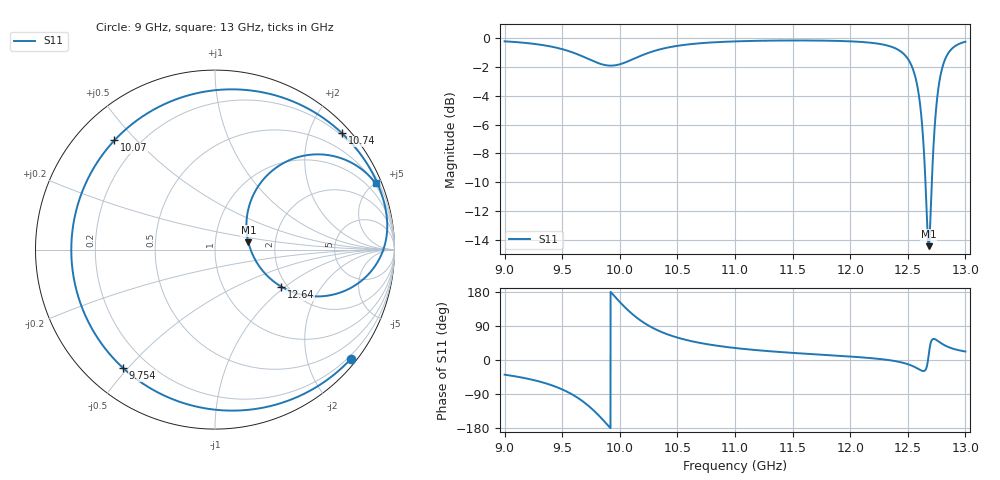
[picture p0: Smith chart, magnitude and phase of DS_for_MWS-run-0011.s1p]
! TOUCHSTONE file generated by CST DESIGN STUDIO
! Date and time: Tue Feb  4 17:49:47 2025
! Project name: C:\Work\MatlabApps\UnitCellOptimizationMatlab\CST\unitcell.cst
! Tree item: Tasks\Sweep1\SPara1\S-Parameters
! Header version: 2024
! Port assignment regex: !\s*Touchstone port\s*([0-9]+)\s*=\s*(CST MWS port|CST DES external port|CST DES block port)\s*(.+)\s* \(\"(.*)\"\)(\s*mode\s*([0-9]+))?.*
! Touchstone port assignment:
! Touchstone port 1 = CST DES external port 1 ("")
# GHz S MA R 50
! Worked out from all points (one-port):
!   4001 points, 9 GHz to 13 GHz, reference 50 ohm
!   lowest |S11| = -14.4 dB at 12.68 GHz (marker M1), VSWR 1.47, Z = 72.6 + j5.99 ohm
!   |S11| at or under -10 dB: 12.6535 GHz to 12.70843 GHz (54.94 MHz wide, 0.433 % of centre)
!   S11 on the Smith chart (normalised r, x): 9 GHz: 0.13, -2.84; 9.754 GHz: 0.11, -0.48; 10.07 GHz: 0.11, +0.43; 10.74 GHz: 0.16, +2.57; 12.64 GHz: 1.87, -0.94; 13 GHz: 0.42, +5.01
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9  0.9715 -38.7
9.282  0.9492 -55.2
9.5  0.9129 -77.6
9.641  0.8738 -101.0
9.754  0.8352 -127.8
9.885  0.8027 -168.4
9.941  0.8012 172.6
10  0.8093 153.0
10.067  0.8274 132.6
10.147  0.8542 111.7
10.236  0.8827 93.2
10.363  0.9145 73.8
10.5  0.9373 59.2
10.745  0.9599 42.4
11  0.9711 31.7
11.5  0.9783 18.8
12  0.9715 9.1
12.339  0.9357 -0.4
12.5  0.846 -11.0
12.585  0.6734 -22.5
12.637  0.4238 -29.2
12.667  0.2335 -14.9
12.681  0.1904 12.1
12.696  0.2352 41.7
12.732  0.4832 55.3
12.777  0.7161 46.8
12.867  0.9019 32.4
13  0.9685 22.4
